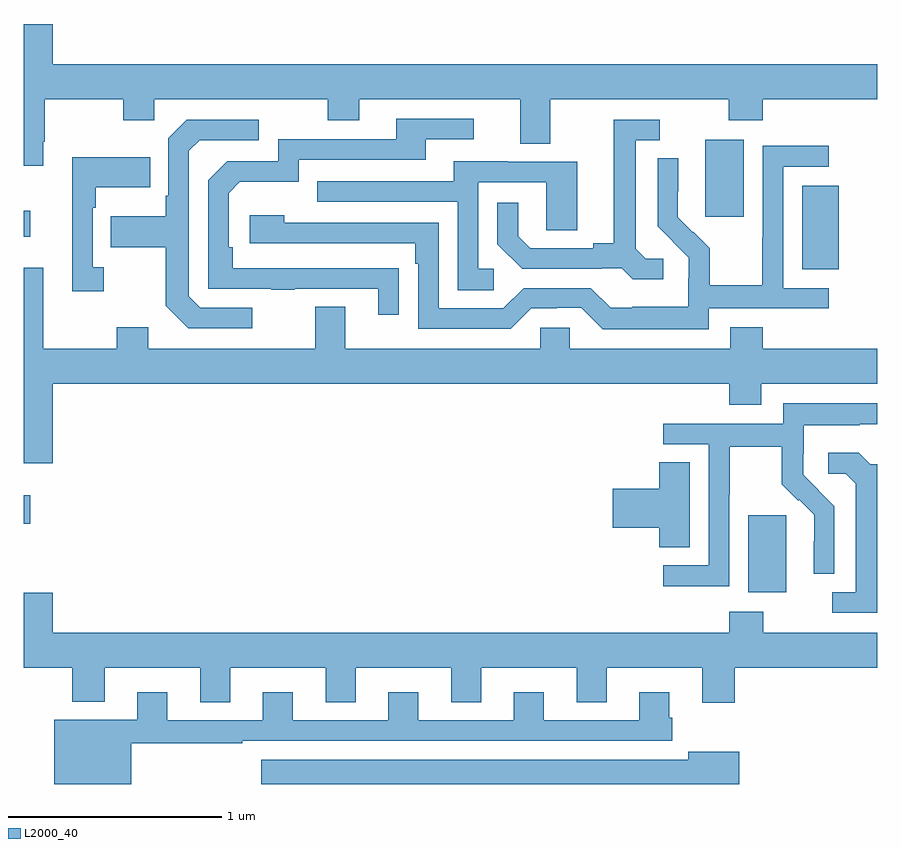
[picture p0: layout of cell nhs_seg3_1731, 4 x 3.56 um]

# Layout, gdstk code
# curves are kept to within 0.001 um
import gdstk
lib = gdstk.Library(unit=1e-6, precision=1e-09)
def R(c, l, rs):  # rectangles x0, y0, x1, y1
    for r in rs: c.add(gdstk.rectangle(r[:2], r[2:], *l))
def P(c, l, *ps):  # polygons
    for p in ps: c.add(gdstk.Polygon(p, *l))
L2000_40 = (2000, 40)

nhs_seg3_1731 = lib.new_cell('nhs_seg3_1731')
R(nhs_seg3_1731, L2000_40, [(204.395,673.298,204.574,673.659), (201,673.619,201.031,673.753), (204.647,674.813,204.818,675.202), (201,674.963,201.031,675.085), (204.194,675.057,204.373,675.418)])
P(nhs_seg3_1731, L2000_40, [(201.091,675.409),(201.099,675.409),(201.099,675.608),(201.466,675.608),(201.466,675.509),(201.612,675.509),(201.612,675.608),(202.426,675.608),(202.426,675.509),(202.573,675.509),(202.573,675.608),(203.327,675.608),(203.327,675.4),(203.467,675.4),(203.467,675.608),(204.304,675.608),(204.304,675.509),(204.464,675.509),(204.464,675.608),(205,675.608),(205,675.772),(201.136,675.772),(201.136,675.961),(201,675.961),(201,675.297),(201.091,675.297)],
  [(202.757,674.816),(201.98,674.817),(201.98,674.914),(201.96,674.914),(201.96,675.168),(202.013,675.221),(202.29,675.221),(202.29,675.324),(202.885,675.324),(202.885,675.42),(203.11,675.42),(203.11,675.516),(202.745,675.516),(202.745,675.42),(202.194,675.42),(202.194,675.318),(201.954,675.318),(201.864,675.228),(201.864,674.721),(202.159,674.721),(202.159,674.716),(202.271,674.716),(202.271,674.721),(202.661,674.721),(202.661,674.598),(202.757,674.598)],
  [(202.072,674.631),(201.828,674.631),(201.774,674.685),(201.774,675.366),(201.825,675.417),(202.102,675.417),(202.102,675.513),(201.765,675.513),(201.678,675.426),(201.678,675.157),(201.666,675.157),(201.666,675.061),(201.409,675.061),(201.409,674.914),(201.666,674.914),(201.666,674.641),(201.771,674.535),(202.072,674.535)],
  [(203.998,674.862),(203.916,674.862),(203.869,674.909),(203.869,675.417),(203.98,675.417),(203.98,675.513),(203.765,675.513),(203.765,674.933),(203.669,674.933),(203.669,674.91),(203.374,674.91),(203.317,674.967),(203.317,675.124),(203.22,675.124),(203.22,674.93),(203.336,674.814),(203.708,674.814),(203.708,674.817),(203.802,674.817),(203.854,674.765),(203.998,674.765)],
  [(204.21,674.628),(204.772,674.628),(204.772,674.724),(204.558,674.724),(204.558,675.291),(204.772,675.291),(204.772,675.39),(204.462,675.39),(204.462,674.96),(204.46,674.96),(204.46,674.737),(204.215,674.737),(204.215,674.911),(204.138,674.988),(204.135,674.985),(204.065,675.056),(204.066,675.332),(203.97,675.332),(203.97,675.014),(204.116,674.866),(204.116,674.769),(204.114,674.769),(204.114,674.635),(203.851,674.635),(203.851,674.631),(203.751,674.631),(203.658,674.724),(203.343,674.724),(203.247,674.628),(202.944,674.628),(202.944,675.03),(202.22,675.03),(202.22,675.064),(202.059,675.064),(202.059,674.934),(202.835,674.934),(202.835,674.837),(202.848,674.837),(202.848,674.532),(203.283,674.532),(203.379,674.628),(203.498,674.628),(203.498,674.631),(203.613,674.631),(203.713,674.531),(204.21,674.531)],
  [(201.376,674.822),(201.324,674.822),(201.324,675.101),(201.337,675.101),(201.337,675.197),(201.593,675.197),(201.593,675.337),(201.227,675.337),(201.227,674.709),(201.376,674.709)],
  [(203.203,674.814),(203.13,674.814),(203.13,675.219),(203.448,675.219),(203.448,674.995),(203.593,674.995),(203.593,675.315),(203.269,675.315),(203.269,675.319),(203.015,675.319),(203.015,675.225),(202.375,675.225),(202.375,675.129),(203.034,675.129),(203.034,674.713),(203.203,674.713)],
  [(201.136,674.276),(204.305,674.276),(204.305,674.177),(204.457,674.177),(204.457,674.276),(205,674.276),(205,674.44),(204.464,674.44),(204.464,674.539),(204.311,674.539),(204.311,674.44),(203.559,674.44),(203.559,674.538),(203.421,674.538),(203.421,674.44),(202.507,674.44),(202.507,674.635),(202.367,674.635),(202.367,674.44),(201.583,674.44),(201.583,674.539),(201.436,674.539),(201.436,674.44),(201.091,674.44),(201.091,674.818),(201,674.818),(201,673.902),(201.136,673.902)],
  [(204.306,673.756),(204.309,673.756),(204.309,673.98),(204.553,673.98),(204.553,673.805),(204.63,673.728),(204.633,673.731),(204.704,673.661),(204.704,673.538),(204.702,673.538),(204.702,673.384),(204.798,673.384),(204.798,673.702),(204.652,673.85),(204.652,673.947),(204.654,673.947),(204.654,674.081),(204.917,674.081),(204.917,674.085),(205,674.085),(205,674.185),(204.558,674.185),(204.558,674.088),(203.997,674.088),(203.997,673.992),(204.21,673.992),(204.21,673.425),(203.997,673.425),(203.997,673.327),(204.306,673.327)],
  [(205,673.899),(204.966,673.899),(204.914,673.951),(204.771,673.951),(204.771,673.854),(204.852,673.854),(204.899,673.807),(204.899,673.299),(204.789,673.299),(204.789,673.203),(205,673.203)],
  [(204.121,673.907),(203.978,673.907),(203.978,673.784),(203.76,673.784),(203.76,673.601),(203.978,673.601),(203.978,673.51),(204.121,673.51)],
  [(204.332,672.944),(205,672.944),(205,673.108),(204.465,673.108),(204.465,673.207),(204.305,673.207),(204.305,673.108),(201.136,673.108),(201.136,673.297),(201,673.297),(201,672.944),(201.227,672.944),(201.227,672.785),(201.379,672.785),(201.379,672.944),(201.827,672.944),(201.827,672.784),(201.967,672.784),(201.967,672.944),(202.415,672.944),(202.415,672.784),(202.555,672.784),(202.555,672.944),(203.003,672.944),(203.003,672.784),(203.143,672.784),(203.143,672.944),(203.591,672.944),(203.591,672.784),(203.731,672.784),(203.731,672.944),(204.179,672.944),(204.179,672.78),(204.332,672.78)],
  [(201.505,672.591),(202.025,672.591),(202.025,672.603),(204.038,672.603),(204.038,672.711),(204.025,672.711),(204.025,672.829),(203.885,672.829),(203.885,672.699),(203.437,672.699),(203.437,672.829),(203.297,672.829),(203.297,672.699),(202.849,672.699),(202.849,672.829),(202.709,672.829),(202.709,672.699),(202.261,672.699),(202.261,672.829),(202.121,672.829),(202.121,672.699),(201.673,672.699),(201.673,672.829),(201.533,672.829),(201.533,672.7),(201.143,672.7),(201.143,672.4),(201.505,672.4)],
  [(204.352,672.55),(204.113,672.55),(204.113,672.514),(202.113,672.514),(202.113,672.4),(204.352,672.4)])

lib.write_gds('nhs_seg3_1731.gds')
